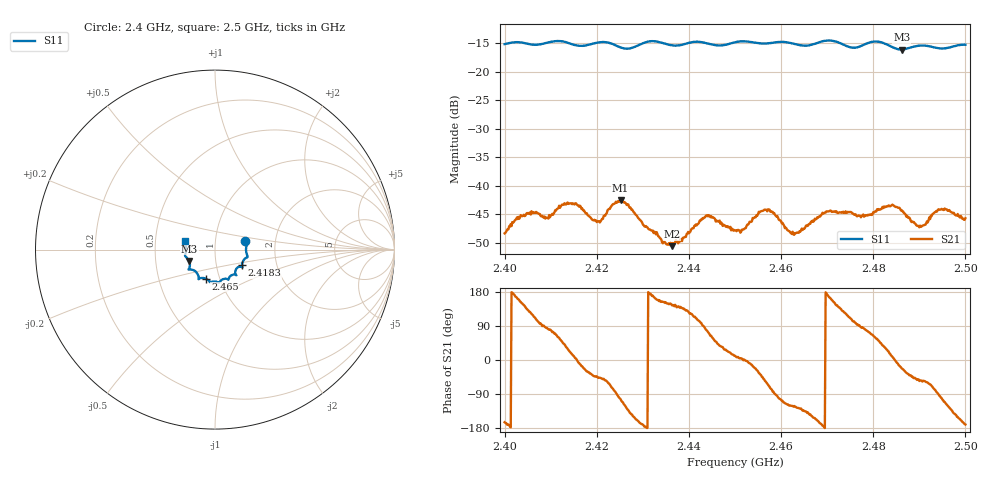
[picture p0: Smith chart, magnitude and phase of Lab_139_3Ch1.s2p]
# Hz S RI R 50
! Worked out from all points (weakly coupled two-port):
!   601 points, 2.4 GHz to 2.5 GHz, reference 50 ohm
!   highest |S21| = -42.52 dB at 2.4252 GHz (marker M1); lowest = -50.6 dB at 2.4363 GHz (marker M2)
!   lowest |S11| = -16.1 dB at 2.4862 GHz (marker M3), VSWR 1.37, Z = 37.2 - j4.82 ohm
!   |S11| at or under -10 dB: start of sweep to end of sweep
!   S12 and S22 are empty: the file has one direction only
!   S11 on the Smith chart (normalised r, x): 2.4 GHz: 1.40, +0.14; 2.4183 GHz: 1.33, -0.24; 2.465 GHz: 0.86, -0.29; 2.5 GHz: 0.71, +0.07
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2.4e9  0.1687 0.047  -0.00369 -0.00104  0 0  0 0
2.405333e9  0.1747 0.0158  -0.00353 0.0046  0 0  0 0
2.409e9  0.1773 -0.0267  0.000481 0.00527  0 0  0 0
2.416667e9  0.1547 -0.0683  0.00606 -0.00173  0 0  0 0
2.418333e9  0.15 -0.0869  0.00457 -0.00292  0 0  0 0
2.4205e9  0.152 -0.0992  0.00336 -0.00355  0 0  0 0
2.425167e9  0.1326 -0.0961  -0.00172 -0.00728  0 0  0 0
2.433333e9  0.1175 -0.1409  -0.00336 0.00133  0 0  0 0
2.436333e9  0.097 -0.1408  -0.0024 0.00173  0 0  0 0
2.444e9  0.0685 -0.164  0.0013 0.00537  0 0  0 0
2.45e9  0.0261 -0.1803  0.004 0.000782  0 0  0 0
2.457e9  -0.00939 -0.1775  0.00272 -0.00533  0 0  0 0
2.462333e9  -0.0325 -0.1753  -0.00196 -0.00324  0 0  0 0
2.465e9  -0.0525 -0.1617  -0.00295 -0.00299  0 0  0 0
2.466667e9  -0.0715 -0.1578  -0.00409 -0.00257  0 0  0 0
2.470333e9  -0.0913 -0.1652  -0.00585 0.00133  0 0  0 0
2.477667e9  -0.1292 -0.1118  0.000343 0.00544  0 0  0 0
2.483333e9  -0.1413 -0.0968  0.00623 0.00259  0 0  0 0
2.486167e9  -0.1438 -0.0632  0.00568 -0.0023  0 0  0 0
2.49e9  -0.1659 -0.0372  0.00245 -0.00358  0 0  0 0
2.4945e9  -0.1606 -0.00314  -0.0006 -0.00617  0 0  0 0
2.5e9  -0.1666 0.0469  -0.00513 -0.000879  0 0  0 0
